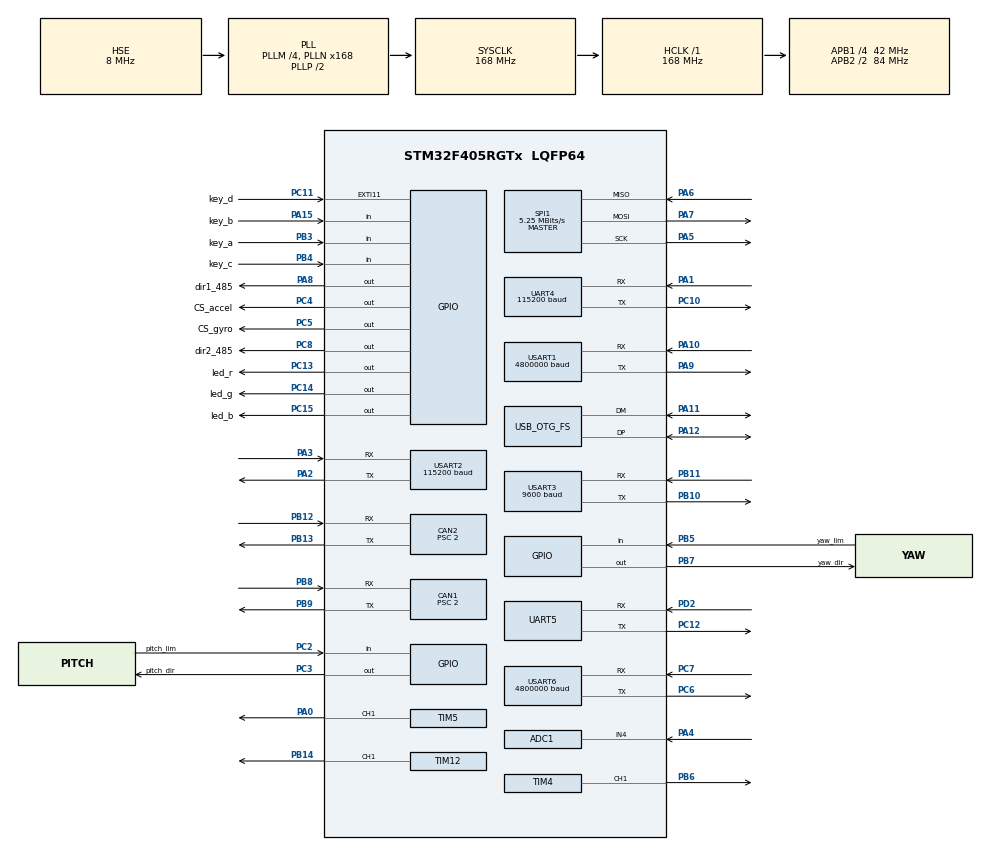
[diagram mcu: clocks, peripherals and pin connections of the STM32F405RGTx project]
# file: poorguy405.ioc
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ADC1.Channel-0\#ChannelRegularConversion=ADC_CHANNEL_4
ADC1.NbrOfConversionFlag=1
ADC1.Rank-0\#ChannelRegularConversion=1
ADC1.SamplingTime-0\#ChannelRegularConversion=ADC_SAMPLETIME_3CYCLES
ADC1.master=1
CAN1.ABOM=ENABLE
CAN1.AWUM=ENABLE
CAN1.BS1=CAN_BS1_15TQ
CAN1.BS2=CAN_BS2_5TQ
CAN1.CalculateBaudRate=1000000
CAN1.CalculateTimeBit=1000
CAN1.CalculateTimeQuantum=47.61904761904762
CAN1.NART=DISABLE
CAN1.Prescaler=2
CAN2.ABOM=ENABLE
CAN2.BS1=CAN_BS1_15TQ
CAN2.BS2=CAN_BS2_5TQ
CAN2.CalculateBaudRate=1000000
CAN2.CalculateTimeBit=1000
CAN2.CalculateTimeQuantum=47.61904761904762
CAN2.NART=ENABLE
CAN2.Prescaler=2
Dma.Request0=UART4_TX
Dma.Request1=UART5_TX
Dma.Request2=USART6_TX
Dma.Request3=USART1_TX
Dma.Request4=UART4_RX
Dma.Request5=UART5_RX
Dma.Request6=USART6_RX
Dma.Request7=USART1_RX
Dma.UART4_RX.4.Direction=DMA_PERIPH_TO_MEMORY
Dma.UART4_RX.4.FIFOMode=DMA_FIFOMODE_DISABLE
Dma.UART4_RX.4.Instance=DMA1_Stream2
Dma.UART4_RX.4.MemDataAlignment=DMA_MDATAALIGN_BYTE
Dma.UART4_RX.4.MemInc=DMA_MINC_ENABLE
Dma.UART4_RX.4.Mode=DMA_NORMAL
Dma.UART4_RX.4.PeriphDataAlignment=DMA_PDATAALIGN_BYTE
Dma.UART4_RX.4.PeriphInc=DMA_PINC_DISABLE
Dma.UART4_RX.4.Priority=DMA_PRIORITY_LOW
Dma.UART4_TX.0.Direction=DMA_MEMORY_TO_PERIPH
Dma.UART4_TX.0.FIFOMode=DMA_FIFOMODE_DISABLE
Dma.UART4_TX.0.Instance=DMA1_Stream4
Dma.UART4_TX.0.MemDataAlignment=DMA_MDATAALIGN_BYTE
Dma.UART4_TX.0.MemInc=DMA_MINC_ENABLE
Dma.UART4_TX.0.Mode=DMA_NORMAL
Dma.UART4_TX.0.PeriphDataAlignment=DMA_PDATAALIGN_BYTE
Dma.UART4_TX.0.PeriphInc=DMA_PINC_DISABLE
Dma.UART4_TX.0.Priority=DMA_PRIORITY_LOW
Dma.UART5_RX.5.Direction=DMA_PERIPH_TO_MEMORY
Dma.UART5_RX.5.FIFOMode=DMA_FIFOMODE_DISABLE
Dma.UART5_RX.5.Instance=DMA1_Stream0
Dma.UART5_RX.5.MemDataAlignment=DMA_MDATAALIGN_BYTE
Dma.UART5_RX.5.MemInc=DMA_MINC_ENABLE
Dma.UART5_RX.5.Mode=DMA_CIRCULAR
Dma.UART5_RX.5.PeriphDataAlignment=DMA_PDATAALIGN_BYTE
Dma.UART5_RX.5.PeriphInc=DMA_PINC_DISABLE
Dma.UART5_RX.5.Priority=DMA_PRIORITY_LOW
Dma.UART5_TX.1.Direction=DMA_MEMORY_TO_PERIPH
Dma.UART5_TX.1.FIFOMode=DMA_FIFOMODE_DISABLE
Dma.UART5_TX.1.Instance=DMA1_Stream7
Dma.UART5_TX.1.MemDataAlignment=DMA_MDATAALIGN_BYTE
Dma.UART5_TX.1.MemInc=DMA_MINC_ENABLE
Dma.UART5_TX.1.Mode=DMA_NORMAL
Dma.UART5_TX.1.PeriphDataAlignment=DMA_PDATAALIGN_BYTE
Dma.UART5_TX.1.PeriphInc=DMA_PINC_DISABLE
Dma.UART5_TX.1.Priority=DMA_PRIORITY_LOW
Dma.USART1_RX.7.Direction=DMA_PERIPH_TO_MEMORY
Dma.USART1_RX.7.FIFOMode=DMA_FIFOMODE_DISABLE
Dma.USART1_RX.7.Instance=DMA2_Stream2
Dma.USART1_RX.7.MemDataAlignment=DMA_MDATAALIGN_BYTE
Dma.USART1_RX.7.MemInc=DMA_MINC_ENABLE
Dma.USART1_RX.7.Mode=DMA_CIRCULAR
Dma.USART1_RX.7.PeriphDataAlignment=DMA_PDATAALIGN_BYTE
Dma.USART1_RX.7.PeriphInc=DMA_PINC_DISABLE
Dma.USART1_RX.7.Priority=DMA_PRIORITY_LOW
Dma.USART1_TX.3.Direction=DMA_MEMORY_TO_PERIPH
Dma.USART1_TX.3.FIFOMode=DMA_FIFOMODE_DISABLE
Dma.USART1_TX.3.Instance=DMA2_Stream7
Dma.USART1_TX.3.MemDataAlignment=DMA_MDATAALIGN_BYTE
Dma.USART1_TX.3.MemInc=DMA_MINC_ENABLE
Dma.USART1_TX.3.Mode=DMA_NORMAL
Dma.USART1_TX.3.PeriphDataAlignment=DMA_PDATAALIGN_BYTE
Dma.USART1_TX.3.PeriphInc=DMA_PINC_DISABLE
Dma.USART1_TX.3.Priority=DMA_PRIORITY_LOW
Dma.USART6_RX.6.Direction=DMA_PERIPH_TO_MEMORY
Dma.USART6_RX.6.FIFOMode=DMA_FIFOMODE_DISABLE
Dma.USART6_RX.6.Instance=DMA2_Stream1
Dma.USART6_RX.6.MemDataAlignment=DMA_MDATAALIGN_BYTE
Dma.USART6_RX.6.MemInc=DMA_MINC_ENABLE
Dma.USART6_RX.6.Mode=DMA_CIRCULAR
Dma.USART6_RX.6.PeriphDataAlignment=DMA_PDATAALIGN_BYTE
Dma.USART6_RX.6.PeriphInc=DMA_PINC_DISABLE
Dma.USART6_RX.6.Priority=DMA_PRIORITY_LOW
Dma.USART6_TX.2.Direction=DMA_MEMORY_TO_PERIPH
Dma.USART6_TX.2.FIFOMode=DMA_FIFOMODE_DISABLE
Dma.USART6_TX.2.Instance=DMA2_Stream6
Dma.USART6_TX.2.MemDataAlignment=DMA_MDATAALIGN_BYTE
Dma.USART6_TX.2.MemInc=DMA_MINC_ENABLE
Dma.USART6_TX.2.Mode=DMA_NORMAL
Dma.USART6_TX.2.PeriphDataAlignment=DMA_PDATAALIGN_BYTE
Dma.USART6_TX.2.PeriphInc=DMA_PINC_DISABLE
Dma.USART6_TX.2.Priority=DMA_PRIORITY_LOW
FREERTOS.Tasks01=defaultTask,0,128,StartDefaultTask,Default,NULL,Dynamic,NULL,NULL;balance_Tas,-3,128,balance_ctrl,Default,NULL,Dynamic,NULL,NULL;leg_Task,-3,128,leg_ctrl,Default,NULL,Dynamic,NULL,NULL;wheel_task,-3,128,get_wheel_speed,Default,NULL,Dynamic,NULL,NULL;blink_task,-3,128,blink_status,Default,NULL,Dynamic,NULL,NULL
Mcu.Family=STM32F4
Mcu.Name=STM32F405RGTx
Mcu.Package=LQFP64
NVIC.CAN1_RX0_IRQn=true\:6\:0\:true\:false\:true\:true\:true\:true\:true
NVIC.CAN1_RX1_IRQn=true\:6\:0\:true\:false\:true\:true\:true\:true\:true
NVIC.CAN2_RX0_IRQn=true\:6\:0\:true\:false\:true\:true\:true\:true\:true
NVIC.CAN2_RX1_IRQn=true\:6\:0\:true\:false\:true\:true\:true\:true\:true
NVIC.DMA1_Stream0_IRQn=true\:5\:0\:false\:false\:true\:true\:false\:true\:true
NVIC.DMA1_Stream2_IRQn=true\:5\:0\:false\:false\:true\:true\:false\:true\:true
NVIC.DMA1_Stream4_IRQn=true\:5\:0\:false\:false\:true\:true\:false\:true\:true
NVIC.DMA1_Stream7_IRQn=true\:5\:0\:false\:false\:true\:true\:false\:true\:true
NVIC.DMA2_Stream1_IRQn=true\:5\:0\:false\:false\:true\:true\:false\:true\:true
NVIC.DMA2_Stream2_IRQn=true\:5\:0\:false\:false\:true\:true\:false\:true\:true
NVIC.DMA2_Stream6_IRQn=true\:5\:0\:false\:false\:true\:true\:false\:true\:true
NVIC.DMA2_Stream7_IRQn=true\:5\:0\:false\:false\:true\:true\:false\:true\:true
NVIC.EXTI15_10_IRQn=true\:7\:0\:true\:false\:true\:true\:true\:true\:true
NVIC.OTG_FS_IRQn=true\:5\:0\:false\:false\:true\:true\:false\:true\:true
NVIC.PriorityGroup=NVIC_PRIORITYGROUP_4
NVIC.TIM6_DAC_IRQn=true\:9\:0\:true\:false\:true\:true\:true\:true\:true
NVIC.TIM8_TRG_COM_TIM14_IRQn=true\:15\:0\:false\:false\:true\:false\:false\:true\:true
NVIC.TimeBase=TIM8_TRG_COM_TIM14_IRQn
NVIC.TimeBaseIP=TIM14
NVIC.UART4_IRQn=true\:6\:0\:true\:false\:true\:true\:true\:true\:true
NVIC.UART5_IRQn=true\:5\:0\:true\:false\:true\:true\:true\:true\:true
NVIC.USART1_IRQn=true\:8\:0\:true\:false\:true\:true\:true\:true\:true
NVIC.USART6_IRQn=true\:7\:0\:true\:false\:true\:true\:true\:true\:true
PA0-WKUP.Signal=S_TIM5_CH1
PA1.Mode=Asynchronous
PA1.Signal=UART4_RX
PA10.Mode=Asynchronous
PA10.Signal=USART1_RX
PA11.Mode=Device_Only
PA11.Signal=USB_OTG_FS_DM
PA12.Mode=Device_Only
PA12.Signal=USB_OTG_FS_DP
PA13.Mode=Serial_Wire
PA13.Signal=SYS_JTMS-SWDIO
PA14.Mode=Serial_Wire
PA14.Signal=SYS_JTCK-SWCLK
PA15.GPIO_Label=key_b
PA15.GPIO_PuPd=GPIO_PULLUP
PA15.Signal=GPIO_Input
PA2.Mode=Asynchronous
PA2.Signal=USART2_TX
PA3.Mode=Asynchronous
PA3.Signal=USART2_RX
PA4.Signal=ADCx_IN4
PA5.Mode=Full_Duplex_Master
PA5.Signal=SPI1_SCK
PA6.Mode=Full_Duplex_Master
PA6.Signal=SPI1_MISO
PA7.Mode=Full_Duplex_Master
PA7.Signal=SPI1_MOSI
PA8.GPIO_Label=dir1_485
PA8.Signal=GPIO_Output
PA9.Mode=Asynchronous
PA9.Signal=USART1_TX
PB10.Mode=Asynchronous
PB10.Signal=USART3_TX
PB11.Mode=Asynchronous
PB11.Signal=USART3_RX
PB12.Mode=CAN_Activate
PB12.Signal=CAN2_RX
PB13.Mode=CAN_Activate
PB13.Signal=CAN2_TX
PB14.Signal=S_TIM12_CH1
PB3.GPIO_Label=key_a
PB3.GPIO_PuPd=GPIO_PULLUP
PB3.Signal=GPIO_Input
PB4.GPIO_Label=key_c
PB4.GPIO_PuPd=GPIO_PULLUP
PB4.Signal=GPIO_Input
PB5.GPIO_Label=yaw_lim
PB5.GPIO_PuPd=GPIO_PULLDOWN
PB5.Signal=GPIO_Input
PB6.Signal=S_TIM4_CH1
PB7.GPIO_Label=yaw_dir
PB7.Signal=GPIO_Output
PB8.Mode=CAN_Activate
PB8.Signal=CAN1_RX
PB9.Mode=CAN_Activate
PB9.Signal=CAN1_TX
PC10.Mode=Asynchronous
PC10.Signal=UART4_TX
PC11.GPIO_Label=key_d
PC11.GPIO_ModeDefaultEXTI=GPIO_MODE_IT_RISING_FALLING
PC11.GPIO_PuPd=GPIO_PULLUP
PC11.Signal=GPXTI11
PC12.Mode=Asynchronous
PC12.Signal=UART5_TX
PC13-ANTI_TAMP.GPIO_Label=led_r
PC13-ANTI_TAMP.GPIO_PuPd=GPIO_NOPULL
PC13-ANTI_TAMP.Signal=GPIO_Output
PC14-OSC32_IN.GPIO_Label=led_g
PC14-OSC32_IN.GPIO_PuPd=GPIO_NOPULL
PC14-OSC32_IN.Signal=GPIO_Output
PC15-OSC32_OUT.GPIO_Label=led_b
PC15-OSC32_OUT.GPIO_PuPd=GPIO_NOPULL
PC15-OSC32_OUT.Signal=GPIO_Output
PC2.GPIO_Label=pitch_lim
PC2.GPIO_PuPd=GPIO_PULLDOWN
PC2.Signal=GPIO_Input
PC3.GPIO_Label=pitch_dir
PC3.Signal=GPIO_Output
PC4.GPIO_Label=CS_accel
PC4.Signal=GPIO_Output
PC5.GPIO_Label=CS_gyro
PC5.Signal=GPIO_Output
PC6.Mode=Asynchronous
PC6.Signal=USART6_TX
PC7.Mode=Asynchronous
PC7.Signal=USART6_RX
PC8.GPIO_Label=dir2_485
PC8.Signal=GPIO_Output
PD2.Mode=Asynchronous
PD2.Signal=UART5_RX
PH0-OSC_IN.Mode=HSE-External-Oscillator
PH0-OSC_IN.Signal=RCC_OSC_IN
PH1-OSC_OUT.Mode=HSE-External-Oscillator
PH1-OSC_OUT.Signal=RCC_OSC_OUT
ProjectManager.HeapSize=0x200
ProjectManager.StackSize=0x400
ProjectManager.TargetToolchain=MDK-ARM V5.32
RCC.48MHZClocksFreq_Value=48000000
RCC.AHBFreq_Value=168000000
RCC.APB1CLKDivider=RCC_HCLK_DIV4
RCC.APB1Freq_Value=42000000
RCC.APB1TimFreq_Value=84000000
RCC.APB2CLKDivider=RCC_HCLK_DIV2
RCC.APB2Freq_Value=84000000
RCC.APB2TimFreq_Value=168000000
RCC.CortexFreq_Value=168000000
RCC.HCLKFreq_Value=168000000
RCC.HSE_VALUE=8000000
RCC.HSI_VALUE=16000000
RCC.LSE_VALUE=32768
RCC.PLLM=4
RCC.PLLN=168
RCC.PLLQ=7
RCC.SYSCLKFreq_VALUE=168000000
RCC.SYSCLKSource=RCC_SYSCLKSOURCE_PLLCLK
RCC.VCOOutputFreq_Value=336000000
SH.ADCx_IN4.0=ADC1_IN4,IN4
SH.S_TIM12_CH1.0=TIM12_CH1,PWM Generation1 CH1
SH.S_TIM4_CH1.0=TIM4_CH1,PWM Generation1 CH1
SH.S_TIM5_CH1.0=TIM5_CH1,PWM Generation1 CH1
SPI1.BaudRatePrescaler=SPI_BAUDRATEPRESCALER_16
SPI1.CalculateBaudRate=5.25 MBits/s
SPI1.Direction=SPI_DIRECTION_2LINES
SPI1.Mode=SPI_MODE_MASTER
SPI1.VirtualType=VM_MASTER
TIM12.Channel-PWM\ Generation1\ CH1=TIM_CHANNEL_1
TIM12.Period=9
TIM12.Prescaler=16799
TIM12.Pulse-PWM\ Generation1\ CH1=5
TIM4.Channel-PWM\ Generation1\ CH1=TIM_CHANNEL_1
TIM5.Channel-PWM\ Generation1\ CH1=TIM_CHANNEL_1
TIM6.Period=999
TIM6.Prescaler=167
UART4.BaudRate=115200
UART4.VirtualMode=Asynchronous
UART5.VirtualMode=Asynchronous
USART1.BaudRate=4800000
USART1.VirtualMode=VM_ASYNC
USART2.BaudRate=115200
USART2.VirtualMode=VM_ASYNC
USART3.BaudRate=9600
USART3.VirtualMode=VM_ASYNC
USART6.BaudRate=4800000
USART6.VirtualMode=VM_ASYNC
USB_DEVICE.CLASS_NAME_FS=CDC
USB_DEVICE.VirtualMode-CDC_FS=Cdc
USB_DEVICE.VirtualModeFS=Cdc_FS
USB_OTG_FS.VirtualMode=Device_Only
VP_FREERTOS_VS_CMSIS_V1.Mode=CMSIS_V1
VP_SYS_VS_tim14.Mode=TIM14
VP_TIM12_VS_ClockSourceINT.Mode=Internal
VP_TIM4_VS_ClockSourceINT.Mode=Internal
VP_TIM5_VS_ClockSourceINT.Mode=Internal
VP_TIM6_VS_ClockSourceINT.Mode=Enable_Timer
VP_USB_DEVICE_VS_USB_DEVICE_CDC_FS.Mode=CDC_FS
board=custom

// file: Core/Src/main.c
/* USER CODE BEGIN Header */
/**
  ******************************************************************************
  * @file           : main.c
  * @brief          : Main program body
  ******************************************************************************
  * @attention
  *
  * Copyright (c) 2024 STMicroelectronics.
  * All rights reserved.
  *
  * This software is licensed under terms that can be found in the LICENSE file
  * in the root directory of this software component.
  * If no LICENSE file comes with this software, it is provided AS-IS.
  *
  ******************************************************************************
  */
/* USER CODE END Header */
#include "main.h"
#include "cmsis_os.h"
#include "adc.h"
#include "can.h"
#include "dma.h"
#include "spi.h"
#include "tim.h"
#include "usart.h"
#include "usb_device.h"
#include "gpio.h"

/* USER CODE BEGIN Includes */
#include "unitree_A1_change_ID.h"
#include "bsp_init.h"

#include "unitreeA1_cmd.h"
/* USER CODE END Includes */

void SystemClock_Config(void);
void MX_FREERTOS_Init(void);

int main(void)
{

  /* MCU Configuration--------------------------------------------------------*/

  /* Reset of all peripherals, Initializes the Flash interface and the Systick. */
  HAL_Init();

  /* Configure the system clock */
  SystemClock_Config();

  /* Initialize all configured peripherals */
  MX_GPIO_Init();
  MX_DMA_Init();
  MX_CAN1_Init();
  MX_CAN2_Init();
  MX_SPI1_Init();
  MX_UART4_Init();
  MX_UART5_Init();
  MX_ADC1_Init();
  MX_TIM4_Init();
  MX_TIM5_Init();
  MX_USART1_UART_Init();
  MX_USART2_UART_Init();
  MX_USART3_UART_Init();
  MX_USART6_UART_Init();
  MX_TIM12_Init();
  MX_TIM6_Init();
  /* USER CODE BEGIN 2 */
	bsp_device_init();

  /* USER CODE END 2 */

  /* Call init function for freertos objects (in freertos.c) */
  MX_FREERTOS_Init();

  /* Start scheduler */
  osKernelStart();

  /* We should never get here as control is now taken by the scheduler */
  /* Infinite loop */
  /* USER CODE BEGIN WHILE */
  while (1)
  {
//		loop();

    /* USER CODE END WHILE */

  }
}

void SystemClock_Config(void)
{
  RCC_OscInitTypeDef RCC_OscInitStruct = {0};
  RCC_ClkInitTypeDef RCC_ClkInitStruct = {0};

  /** Configure the main internal regulator output voltage
  */
  __HAL_RCC_PWR_CLK_ENABLE();
  __HAL_PWR_VOLTAGESCALING_CONFIG(PWR_REGULATOR_VOLTAGE_SCALE1);

  /** Initializes the RCC Oscillators according to the specified parameters
  * in the RCC_OscInitTypeDef structure.
  */
  RCC_OscInitStruct.OscillatorType = RCC_OSCILLATORTYPE_HSE;
  RCC_OscInitStruct.HSEState = RCC_HSE_ON;
  RCC_OscInitStruct.PLL.PLLState = RCC_PLL_ON;
  RCC_OscInitStruct.PLL.PLLSource = RCC_PLLSOURCE_HSE;
  RCC_OscInitStruct.PLL.PLLM = 4;
  RCC_OscInitStruct.PLL.PLLN = 168;
  RCC_OscInitStruct.PLL.PLLP = RCC_PLLP_DIV2;
  RCC_OscInitStruct.PLL.PLLQ = 7;
  if (HAL_RCC_OscConfig(&RCC_OscInitStruct) != HAL_OK)
  {
    Error_Handler();
  }

  /** Initializes the CPU, AHB and APB buses clocks
  */
  RCC_ClkInitStruct.ClockType = RCC_CLOCKTYPE_HCLK|RCC_CLOCKTYPE_SYSCLK
                              |RCC_CLOCKTYPE_PCLK1|RCC_CLOCKTYPE_PCLK2;
  RCC_ClkInitStruct.SYSCLKSource = RCC_SYSCLKSOURCE_PLLCLK;
  RCC_ClkInitStruct.AHBCLKDivider = RCC_SYSCLK_DIV1;
  RCC_ClkInitStruct.APB1CLKDivider = RCC_HCLK_DIV4;
  RCC_ClkInitStruct.APB2CLKDivider = RCC_HCLK_DIV2;

  if (HAL_RCC_ClockConfig(&RCC_ClkInitStruct, FLASH_LATENCY_5) != HAL_OK)
  {
    Error_Handler();
  }
}

void HAL_TIM_PeriodElapsedCallback(TIM_HandleTypeDef *htim)
{
  if (htim->Instance == TIM14) {
    HAL_IncTick();
  }
}

void Error_Handler(void)
{
  __disable_irq();
  while (1)
  {
  }
}

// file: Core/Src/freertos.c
/* USER CODE BEGIN Header */
/**
  ******************************************************************************
  * File Name          : freertos.c
  * Description        : Code for freertos applications
  ******************************************************************************
  * @attention
  *
  * Copyright (c) 2024 STMicroelectronics.
  * All rights reserved.
  *
  * This software is licensed under terms that can be found in the LICENSE file
  * in the root directory of this software component.
  * If no LICENSE file comes with this software, it is provided AS-IS.
  *
  ******************************************************************************
  */
/* USER CODE END Header */

#include "FreeRTOS.h"
#include "task.h"
#include "main.h"
#include "cmsis_os.h"

/* USER CODE BEGIN Includes */
#include "MahonyAHRS.h"
#include "BMI088driver.h"
#include "pid.h"
#include "odrive_can.h"
#include "unitreeA1_cmd.h"
/* USER CODE END Includes */

/* USER CODE BEGIN Variables */
float Gyro[3], Accel[3], temp;
AHRSIMU_t IMU;

float vel_pid_output_value;
float Angle_pid_output_value;
/* USER CODE END Variables */
osThreadId defaultTaskHandle;
osThreadId balance_TasHandle;
osThreadId leg_TaskHandle;
osThreadId wheel_taskHandle;
osThreadId blink_taskHandle;

void StartDefaultTask(void const * argument);
void balance_ctrl(void const * argument);
void leg_ctrl(void const * argument);
void get_wheel_speed(void const * argument);
void blink_status(void const * argument);

extern void MX_USB_DEVICE_Init(void);
void MX_FREERTOS_Init(void); /* (MISRA C 2004 rule 8.1) */

/* GetIdleTaskMemory prototype (linked to static allocation support) */
void vApplicationGetIdleTaskMemory( StaticTask_t **ppxIdleTaskTCBBuffer, StackType_t **ppxIdleTaskStackBuffer, uint32_t *pulIdleTaskStackSize );

/* USER CODE BEGIN GET_IDLE_TASK_MEMORY */
static StaticTask_t xIdleTaskTCBBuffer;
static StackType_t xIdleStack[configMINIMAL_STACK_SIZE];

void vApplicationGetIdleTaskMemory( StaticTask_t **ppxIdleTaskTCBBuffer, StackType_t **ppxIdleTaskStackBuffer, uint32_t *pulIdleTaskStackSize )
{
  *ppxIdleTaskTCBBuffer = &xIdleTaskTCBBuffer;
  *ppxIdleTaskStackBuffer = &xIdleStack[0];
  *pulIdleTaskStackSize = configMINIMAL_STACK_SIZE;
  /* place for user code */
}
/* USER CODE END GET_IDLE_TASK_MEMORY */

void MX_FREERTOS_Init(void) {

  /* Create the thread(s) */
  /* definition and creation of defaultTask */
  osThreadDef(defaultTask, StartDefaultTask, osPriorityNormal, 0, 128);
  defaultTaskHandle = osThreadCreate(osThread(defaultTask), NULL);

  /* definition and creation of balance_Tas */
  osThreadDef(balance_Tas, balance_ctrl, osPriorityIdle, 0, 128);
  balance_TasHandle = osThreadCreate(osThread(balance_Tas), NULL);

  /* definition and creation of leg_Task */
  osThreadDef(leg_Task, leg_ctrl, osPriorityIdle, 0, 128);
  leg_TaskHandle = osThreadCreate(osThread(leg_Task), NULL);

  /* definition and creation of wheel_task */
  osThreadDef(wheel_task, get_wheel_speed, osPriorityIdle, 0, 128);
  wheel_taskHandle = osThreadCreate(osThread(wheel_task), NULL);

  /* definition and creation of blink_task */
  osThreadDef(blink_task, blink_status, osPriorityIdle, 0, 128);
  blink_taskHandle = osThreadCreate(osThread(blink_task), NULL);

}

void StartDefaultTask(void const * argument)
{
  /* init code for USB_DEVICE */
  MX_USB_DEVICE_Init();
  for(;;)
  {
    osDelay(1);
  }
}

void balance_ctrl(void const * argument)
{
  /* USER CODE BEGIN balance_ctrl */
  /* Infinite loop */

	TickType_t xlastwakeTime;
	xlastwakeTime =xTaskGetTickCount();

  for(;;)
  {
		BMI088_read(Gyro, Accel, &temp);
		MahonyAHRSupdateIMU(&IMU,Gyro[0],Gyro[1],Gyro[2],Accel[0],Accel[1],Accel[2]);

		vel_pid_output_value = Velocity_PID(-left_wheel_vel,right_wheel_vel,0);
		Angle_pid_output_value = Angle_PID_Output(vel_pid_output_value,IMU.Pitch);

//		send_wheel_torque(0,0);

		vTaskDelayUntil(&xlastwakeTime,10); //ms
  }
  /* USER CODE END balance_ctrl */
}

void leg_ctrl(void const * argument)
{
  /* USER CODE BEGIN leg_ctrl */
  /* Infinite loop */
  for(;;)
  {
		unitreeA1_sendCMD(&cmd_left,2, 0.15, 0, 0, 0, 0);
		osDelay(200);
//		unitreeA1_sendCMD(&cmd_left,1, 0.2, 0, 0, 0, 0);
//		osDelay(200);
  }
  /* USER CODE END leg_ctrl */
}

void get_wheel_speed(void const * argument)
{
  for(;;)
  {
    osDelay(1);
  }
}

void blink_status(void const * argument)
{
  /* USER CODE BEGIN blink_status */
  /* Infinite loop */
	static uint8_t motor_power_en;
  for(;;)
  {
		if(HAL_GPIO_ReadPin(key_c_GPIO_Port,key_c_Pin) == GPIO_PIN_RESET){ //motor power disable
			HAL_GPIO_TogglePin(led_r_GPIO_Port,led_r_Pin); //blink Red led
			HAL_GPIO_WritePin(led_g_GPIO_Port,led_g_Pin,GPIO_PIN_SET);
			HAL_GPIO_WritePin(led_b_GPIO_Port,led_b_Pin,GPIO_PIN_SET);
			motor_power_en = 0;
			osDelay(200);
		}
		else if(HAL_GPIO_ReadPin(key_c_GPIO_Port,key_c_Pin) == GPIO_PIN_SET && motor_power_en == 0){ //if All motor power enable
			HAL_GPIO_WritePin(led_r_GPIO_Port,led_r_Pin,GPIO_PIN_RESET); //turn on red led;
			HAL_GPIO_WritePin(led_g_GPIO_Port,led_g_Pin,GPIO_PIN_RESET); //turn on green led;	 mean yellow light
			HAL_GPIO_WritePin(led_b_GPIO_Port,led_b_Pin,GPIO_PIN_SET); //turn off blue led;
			osDelay(2000); //waiting motor startup
			motor_power_en = 1;
		}

		if(motor_power_en == 1){
			HAL_GPIO_WritePin(led_r_GPIO_Port,led_r_Pin,GPIO_PIN_SET);
			HAL_GPIO_WritePin(led_b_GPIO_Port,led_b_Pin,GPIO_PIN_SET);
			HAL_GPIO_TogglePin(led_g_GPIO_Port,led_g_Pin); //blink green led
			osDelay(35);
		}
  }
  /* USER CODE END blink_status */
}
